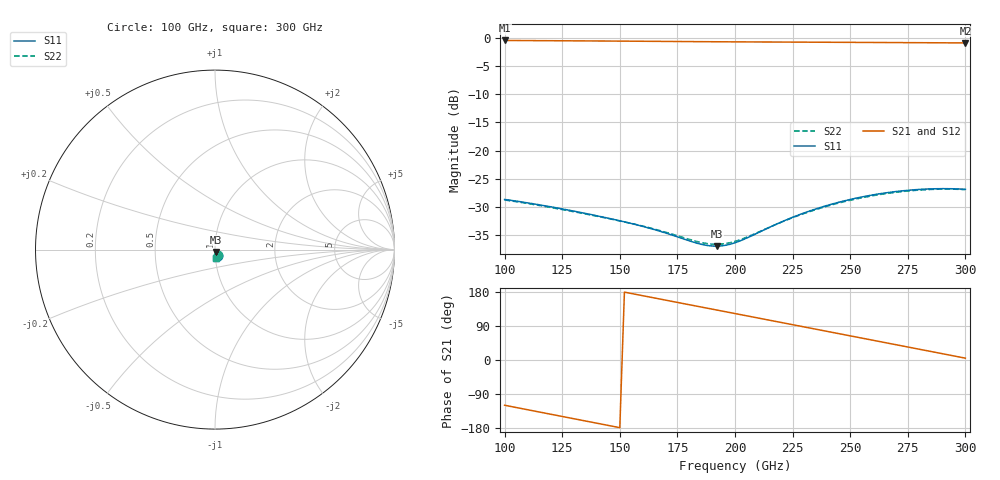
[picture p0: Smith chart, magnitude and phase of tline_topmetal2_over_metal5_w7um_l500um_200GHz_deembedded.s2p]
! Created with skrf 2.2.0 (http://scikit-rf.org).
# GHz S DB R 50.0
! Port[1] = P1
! Port[2] = P2
!freq dBS11 angS11 dBS21 angS21 dBS12 angS12 dBS22 angS22
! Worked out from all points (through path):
!   101 points, 100 GHz to 300 GHz, reference 50 ohm
!   highest |S21| = -0.49 dB at 100 GHz (marker M1); lowest = -0.9 dB at 300 GHz (marker M2)
!   group delay of S21, straight-line fit = 3.27 ps
!   lowest |S11| = -36.9 dB at 192 GHz (marker M3), VSWR 1.03, Z = 50.6 - j1.29 ohm
!   |S11| at or under -10 dB: start of sweep to end of sweep
!   |S22| runs from -36.6 to -26.8 dB; largest |S21 - S12| = 1.1e-14
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100  -28.65 -63.6  -0.49 -119.4  -0.49 -119.4  -28.75 -63.2
108  -29.14 -68.6  -0.50 -128.9  -0.50 -128.9  -29.25 -67.9
118  -29.82 -73.9  -0.53 -140.7  -0.53 -140.7  -29.93 -73.0
134  -31.05 -80.4  -0.56 -159.6  -0.56 -159.6  -31.14 -79.0
142  -31.72 -82.7  -0.58 -169.1  -0.58 -169.1  -31.79 -80.9
150  -32.44 -84.3  -0.60 -178.6  -0.60 -178.6  -32.46 -82.3
158  -33.22 -85.1  -0.62 172.0  -0.62 172.0  -33.19 -82.9
168  -34.36 -84.6  -0.65 160.2  -0.65 160.2  -34.24 -82.3
180  -35.97 -78.9  -0.69 146.1  -0.69 146.1  -35.71 -77.1
192  -36.94 -63.4  -0.72 132.0  -0.72 132.0  -36.60 -62.9
200  -36.33 -51.1  -0.73 122.6  -0.73 122.6  -36.09 -51.4
210  -34.56 -41.8  -0.75 110.8  -0.75 110.8  -34.48 -42.3
218  -33.03 -39.4  -0.77 101.4  -0.77 101.4  -33.05 -39.7
226  -31.66 -40.0  -0.78 92.0  -0.78 92.0  -31.74 -39.9
234  -30.48 -42.3  -0.79 82.6  -0.79 82.6  -30.60 -41.9
242  -29.49 -45.8  -0.81 73.2  -0.81 73.2  -29.62 -45.0
250  -28.66 -50.1  -0.82 63.7  -0.82 63.7  -28.80 -48.9
258  -27.99 -54.9  -0.84 54.3  -0.84 54.3  -28.13 -53.4
268  -27.35 -61.5  -0.86 42.5  -0.86 42.5  -27.48 -59.5
284  -26.80 -72.8  -0.89 23.7  -0.89 23.7  -26.90 -70.2
292  -26.75 -78.7  -0.91 14.3  -0.91 14.3  -26.83 -75.8
300  -26.86 -84.6  -0.92 4.9  -0.92 4.9  -26.91 -81.3
